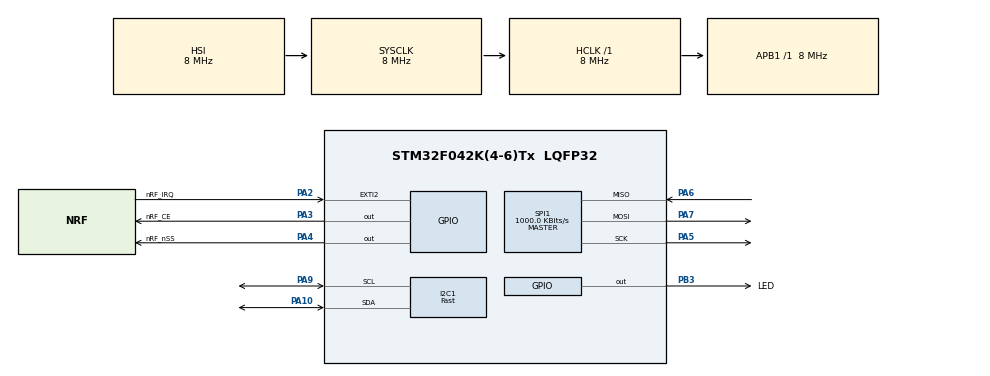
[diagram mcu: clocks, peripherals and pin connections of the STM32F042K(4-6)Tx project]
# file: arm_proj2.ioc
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I2C1.I2C_Speed_Mode=I2C_Fast
I2C1.Timing=0x0000020B
Mcu.Family=STM32F0
Mcu.Name=STM32F042K(4-6)Tx
Mcu.Package=LQFP32
NVIC.EXTI2_3_IRQn=true\:1\:0\:true\:false\:true\:true
PA10.Mode=I2C
PA10.Signal=I2C1_SDA
PA13.Mode=Serial_Wire
PA13.Signal=SYS_SWDIO
PA14.Mode=Serial_Wire
PA14.Signal=SYS_SWCLK
PA2.GPIO_Label=nRF_IRQ
PA2.GPIO_ModeDefaultEXTI=GPIO_MODE_IT_FALLING
PA2.Signal=GPXTI2
PA3.GPIO_Label=nRF_CE
PA3.GPIO_Speed=GPIO_SPEED_FREQ_HIGH
PA3.PinState=GPIO_PIN_SET
PA3.Signal=GPIO_Output
PA4.GPIO_Label=nRF_nSS
PA4.GPIO_Speed=GPIO_SPEED_FREQ_HIGH
PA4.PinState=GPIO_PIN_SET
PA4.Signal=GPIO_Output
PA5.Mode=Full_Duplex_Master
PA5.Signal=SPI1_SCK
PA6.Mode=Full_Duplex_Master
PA6.Signal=SPI1_MISO
PA7.Mode=Full_Duplex_Master
PA7.Signal=SPI1_MOSI
PA9.Mode=I2C
PA9.Signal=I2C1_SCL
PB3.GPIO_Label=LED
PB3.Signal=GPIO_Output
ProjectManager.HeapSize=0x200
ProjectManager.StackSize=0x400
ProjectManager.TargetToolchain=EWARM
RCC.AHBFreq_Value=8000000
RCC.APB1Freq_Value=8000000
RCC.APB1TimFreq_Value=8000000
RCC.HCLKFreq_Value=8000000
RCC.SYSCLKFreq_VALUE=8000000
SPI1.BaudRatePrescaler=SPI_BAUDRATEPRESCALER_8
SPI1.CalculateBaudRate=1000.0 KBits/s
SPI1.DataSize=SPI_DATASIZE_8BIT
SPI1.Direction=SPI_DIRECTION_2LINES
SPI1.Mode=SPI_MODE_MASTER
SPI1.VirtualType=VM_MASTER
board=NUCLEO-F042K6

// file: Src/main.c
/**
  ******************************************************************************
  * @file           : main.c
  * @brief          : Main program body
  ******************************************************************************
  ** This notice applies to any and all portions of this file
  * that are not between comment pairs USER CODE BEGIN and
  * USER CODE END. Other portions of this file, whether
  * inserted by the user or by software development tools
  * are owned by their respective copyright owners.
  *
  * COPYRIGHT(c) 2018 STMicroelectronics
  *
  * Redistribution and use in source and binary forms, with or without modification,
  * are permitted provided that the following conditions are met:
  *   1. Redistributions of source code must retain the above copyright notice,
  *      this list of conditions and the following disclaimer.
  *   2. Redistributions in binary form must reproduce the above copyright notice,
  *      this list of conditions and the following disclaimer in the documentation
  *      and/or other materials provided with the distribution.
  *   3. Neither the name of STMicroelectronics nor the names of its contributors
  *      may be used to endorse or promote products derived from this software
  *      without specific prior written permission.
  *
  * THIS SOFTWARE IS PROVIDED BY THE COPYRIGHT HOLDERS AND CONTRIBUTORS "AS IS"
  * AND ANY EXPRESS OR IMPLIED WARRANTIES, INCLUDING, BUT NOT LIMITED TO, THE
  * IMPLIED WARRANTIES OF MERCHANTABILITY AND FITNESS FOR A PARTICULAR PURPOSE ARE
  * DISCLAIMED. IN NO EVENT SHALL THE COPYRIGHT HOLDER OR CONTRIBUTORS BE LIABLE
  * FOR ANY DIRECT, INDIRECT, INCIDENTAL, SPECIAL, EXEMPLARY, OR CONSEQUENTIAL
  * DAMAGES (INCLUDING, BUT NOT LIMITED TO, PROCUREMENT OF SUBSTITUTE GOODS OR
  * SERVICES; LOSS OF USE, DATA, OR PROFITS; OR BUSINESS INTERRUPTION) HOWEVER
  * CAUSED AND ON ANY THEORY OF LIABILITY, WHETHER IN CONTRACT, STRICT LIABILITY,
  * OR TORT (INCLUDING NEGLIGENCE OR OTHERWISE) ARISING IN ANY WAY OUT OF THE USE
  * OF THIS SOFTWARE, EVEN IF ADVISED OF THE POSSIBILITY OF SUCH DAMAGE.
  *
  ******************************************************************************
  */
#include "main.h"
#include "stm32f0xx_hal.h"

/* USER CODE BEGIN Includes */
#include "mpu6050.h"
#include "nrf24l01P.h"
/* USER CODE END Includes */

I2C_HandleTypeDef hi2c1;

SPI_HandleTypeDef hspi1;

/* USER CODE BEGIN PV */
/* Private variables ---------------------------------------------------------*/
nRF24L01P myNRF;
const uint8_t RXAddr[5] = {0xE7, 0xE7, 0xE7, 0xE7, 0xE7};
const uint8_t TXAddr[5] = {0xE7, 0xE7, 0xE7, 0xE7, 0xE7};

uint8_t TXData[32] = "D=result_of_mpu6050";
uint8_t RXBuffer[32], TXBuffer[32];

int16_t Accel_X, Accel_Y, Accel_Z;
int16_t Gyro_X, Gyro_Y, Gyro_Z;
/* USER CODE END PV */

void SystemClock_Config(void);
static void MX_GPIO_Init(void);
static void MX_I2C1_Init(void);
static void MX_SPI1_Init(void);

/* USER CODE BEGIN PFP */
/* Private function prototypes -----------------------------------------------*/
#define accel_bound 8192
#define myMPU MPU6050_DEFAULT_ADDRESS

void MPU6050_Write(uint8_t Address, uint8_t data)
{
    HAL_I2C_Mem_Write(&hi2c1, myMPU, Address, 1, (uint8_t *)&data, 1, 10);
}

void MPU6050_Write_bits(uint8_t Address, uint8_t bitStart, uint8_t length, uint8_t data){
    uint8_t tmp = 0;
    HAL_I2C_Mem_Read(&hi2c1, myMPU, Address, 1, (uint8_t *)&tmp, 1, 10);
    uint8_t mask = 0;
    switch(length){
        case 1: mask = 0x01; break;
        case 2: mask = 0x03; break;
        case 3: mask = 0x07; break;
        case 4: mask = 0x0F; break;
        case 5: mask = 0x1F; break;
        case 6: mask = 0x3F; break;
        case 7: mask = 0x7F; break;
        case 8: mask = 0xFF; break;
    }
    tmp &= ~(mask << bitStart);
    tmp |= (data << bitStart);
    HAL_I2C_Mem_Write(&hi2c1, myMPU, Address, 1, (uint8_t *)&tmp, 1, 10);
}

uint8_t MPU6050_Read(uint8_t Address){
    uint8_t data = 0;
    HAL_I2C_Mem_Read(&hi2c1, myMPU, Address, 1, (uint8_t *)&data, 1, 10);
    return data;
}

void init_MPU6050(void){
    uint8_t temp = MPU6050_Read(MPU6050_RA_WHO_AM_I);
    /*
    printf("Who am I = 0x%02X\r\n", temp);
    printf("MPU6050 Initialize..... \r\n");
    printf("------------------------\r\n");
    */
    HAL_Delay(100);
    MPU6050_Write_bits(MPU6050_RA_PWR_MGMT_1, MPU6050_PWR1_SLEEP_BIT, 0x01, DISABLE); // SetSleepModeStatus
    HAL_Delay(10);
    MPU6050_Write_bits(MPU6050_RA_PWR_MGMT_1, MPU6050_PWR1_CLKSEL_BIT, MPU6050_PWR1_CLKSEL_LENGTH, MPU6050_CLOCK_PLL_XGYRO);      // SetClockSource
    MPU6050_Write_bits(MPU6050_RA_GYRO_CONFIG, MPU6050_GCONFIG_FS_SEL_BIT, MPU6050_GCONFIG_FS_SEL_LENGTH, MPU6050_GYRO_FS_250);   // SetFullScaleGyroRange
    MPU6050_Write_bits(MPU6050_RA_ACCEL_CONFIG, MPU6050_ACONFIG_AFS_SEL_BIT, MPU6050_ACONFIG_AFS_SEL_LENGTH, MPU6050_ACCEL_FS_2); // SetFullScaleAccelRange
}

void read_MPU6050_data(void){
    Accel_X = (MPU6050_Read(MPU6050_RA_ACCEL_XOUT_H)<<8) | MPU6050_Read(MPU6050_RA_ACCEL_XOUT_L);
    Accel_Y = (MPU6050_Read(MPU6050_RA_ACCEL_YOUT_H)<<8) | MPU6050_Read(MPU6050_RA_ACCEL_YOUT_L);
    Accel_Z = (MPU6050_Read(MPU6050_RA_ACCEL_ZOUT_H)<<8) | MPU6050_Read(MPU6050_RA_ACCEL_ZOUT_L);
    Gyro_X  = (MPU6050_Read(MPU6050_RA_GYRO_XOUT_H)<<8) | MPU6050_Read(MPU6050_RA_GYRO_XOUT_L);
    Gyro_Y  = (MPU6050_Read(MPU6050_RA_GYRO_YOUT_H)<<8) | MPU6050_Read(MPU6050_RA_GYRO_YOUT_L);
    Gyro_Z  = (MPU6050_Read(MPU6050_RA_GYRO_ZOUT_H)<<8) | MPU6050_Read(MPU6050_RA_GYRO_ZOUT_L);
}
/* USER CODE END PFP */

int main(void)
{

  /* MCU Configuration----------------------------------------------------------*/

  /* Reset of all peripherals, Initializes the Flash interface and the Systick. */
  HAL_Init();

  /* Configure the system clock */
  SystemClock_Config();

  /* Initialize all configured peripherals */
  MX_GPIO_Init();
  MX_I2C1_Init();
  MX_SPI1_Init();
  /* USER CODE BEGIN 2 */
  init_MPU6050();

  myNRF.hspi = &hspi1;
  myNRF.CRC_Width = nRF_CRC_WIDTH_BYTE;
  myNRF.ADDR_Width = nRF_ADDR_WIDTH_5;
  myNRF.Data_Rate = nRF_DATA_RATE_2MBPS;
  myNRF.TX_Power = nRF_TX_PWR_0dBm;
  myNRF.State = nRF_STATE_TX;

  myNRF.RF_Channel = 2;
  myNRF.PayloadWidth = nRF_RXPW_32BYTES;
  myNRF.RetransmitCount = nRF_RETX_COUNT_1;
  myNRF.RetransmitDelay = nRF_RETX_DELAY_1000uS;

  myNRF.RX_Address = (uint8_t *)RXAddr;
  myNRF.TX_Address = (uint8_t *)TXAddr;

  myNRF.RX_Buffer = RXBuffer;
  myNRF.TX_Buffer = TXBuffer;

  myNRF.nRF_nSS_GPIO_PORT = nRF_nSS_GPIO_Port;
  myNRF.nRF_nSS_GPIO_PIN = nRF_nSS_Pin;

  myNRF.nRF_CE_GPIO_PORT = nRF_CE_GPIO_Port;
  myNRF.nRF_CE_GPIO_PIN = nRF_CE_Pin;

  if(HAL_nRF24L01P_Init(&myNRF) != HAL_OK)
  {
    _Error_Handler(__FILE__, __LINE__);
  }
  /* USER CODE END 2 */

  /* Infinite loop */
  while (1)
  {

  /* USER CODE BEGIN 3 */
    read_MPU6050_data();

    if(Accel_X <= -accel_bound)
    {
      TXData[0] = 'F';
    }else if(Accel_X >= accel_bound)
    {
      TXData[0] = 'B';
    }else if(Accel_Y <= -accel_bound)
    {
      TXData[0] = 'R';
    }else if(Accel_Y >= accel_bound)
    {
      TXData[0] = 'L';
    }else
    {
      TXData[0] = 'D';
    }
    if(HAL_nRF24L01P_TransmitPacket(&myNRF, (uint8_t *)TXData) != HAL_OK)
    {
      _Error_Handler(__FILE__, __LINE__);
    }
    HAL_Delay(250);
  }
  /* USER CODE END 3 */

}

void SystemClock_Config(void)
{

  RCC_OscInitTypeDef RCC_OscInitStruct;
  RCC_ClkInitTypeDef RCC_ClkInitStruct;
  RCC_PeriphCLKInitTypeDef PeriphClkInit;

    /**Initializes the CPU, AHB and APB busses clocks
    */
  RCC_OscInitStruct.OscillatorType = RCC_OSCILLATORTYPE_HSI;
  RCC_OscInitStruct.HSIState = RCC_HSI_ON;
  RCC_OscInitStruct.HSICalibrationValue = 16;
  RCC_OscInitStruct.PLL.PLLState = RCC_PLL_NONE;
  if (HAL_RCC_OscConfig(&RCC_OscInitStruct) != HAL_OK)
  {
    _Error_Handler(__FILE__, __LINE__);
  }

    /**Initializes the CPU, AHB and APB busses clocks
    */
  RCC_ClkInitStruct.ClockType = RCC_CLOCKTYPE_HCLK|RCC_CLOCKTYPE_SYSCLK
                              |RCC_CLOCKTYPE_PCLK1;
  RCC_ClkInitStruct.SYSCLKSource = RCC_SYSCLKSOURCE_HSI;
  RCC_ClkInitStruct.AHBCLKDivider = RCC_SYSCLK_DIV1;
  RCC_ClkInitStruct.APB1CLKDivider = RCC_HCLK_DIV1;

  if (HAL_RCC_ClockConfig(&RCC_ClkInitStruct, FLASH_LATENCY_0) != HAL_OK)
  {
    _Error_Handler(__FILE__, __LINE__);
  }

  PeriphClkInit.PeriphClockSelection = RCC_PERIPHCLK_I2C1;
  PeriphClkInit.I2c1ClockSelection = RCC_I2C1CLKSOURCE_HSI;
  if (HAL_RCCEx_PeriphCLKConfig(&PeriphClkInit) != HAL_OK)
  {
    _Error_Handler(__FILE__, __LINE__);
  }

    /**Configure the Systick interrupt time
    */
  HAL_SYSTICK_Config(HAL_RCC_GetHCLKFreq()/1000);

    /**Configure the Systick
    */
  HAL_SYSTICK_CLKSourceConfig(SYSTICK_CLKSOURCE_HCLK);

  /* SysTick_IRQn interrupt configuration */
  HAL_NVIC_SetPriority(SysTick_IRQn, 0, 0);
}

/* I2C1 init function */
static void MX_I2C1_Init(void)
{

  hi2c1.Instance = I2C1;
  hi2c1.Init.Timing = 0x0000020B;
  hi2c1.Init.OwnAddress1 = 0;
  hi2c1.Init.AddressingMode = I2C_ADDRESSINGMODE_7BIT;
  hi2c1.Init.DualAddressMode = I2C_DUALADDRESS_DISABLE;
  hi2c1.Init.OwnAddress2 = 0;
  hi2c1.Init.OwnAddress2Masks = I2C_OA2_NOMASK;
  hi2c1.Init.GeneralCallMode = I2C_GENERALCALL_DISABLE;
  hi2c1.Init.NoStretchMode = I2C_NOSTRETCH_DISABLE;
  if (HAL_I2C_Init(&hi2c1) != HAL_OK)
  {
    _Error_Handler(__FILE__, __LINE__);
  }

    /**Configure Analogue filter
    */
  if (HAL_I2CEx_ConfigAnalogFilter(&hi2c1, I2C_ANALOGFILTER_ENABLE) != HAL_OK)
  {
    _Error_Handler(__FILE__, __LINE__);
  }

    /**Configure Digital filter
    */
  if (HAL_I2CEx_ConfigDigitalFilter(&hi2c1, 0) != HAL_OK)
  {
    _Error_Handler(__FILE__, __LINE__);
  }

}

/* SPI1 init function */
static void MX_SPI1_Init(void)
{

  /* SPI1 parameter configuration*/
  hspi1.Instance = SPI1;
  hspi1.Init.Mode = SPI_MODE_MASTER;
  hspi1.Init.Direction = SPI_DIRECTION_2LINES;
  hspi1.Init.DataSize = SPI_DATASIZE_8BIT;
  hspi1.Init.CLKPolarity = SPI_POLARITY_LOW;
  hspi1.Init.CLKPhase = SPI_PHASE_1EDGE;
  hspi1.Init.NSS = SPI_NSS_SOFT;
  hspi1.Init.BaudRatePrescaler = SPI_BAUDRATEPRESCALER_8;
  hspi1.Init.FirstBit = SPI_FIRSTBIT_MSB;
  hspi1.Init.TIMode = SPI_TIMODE_DISABLE;
  hspi1.Init.CRCCalculation = SPI_CRCCALCULATION_DISABLE;
  hspi1.Init.CRCPolynomial = 7;
  hspi1.Init.CRCLength = SPI_CRC_LENGTH_DATASIZE;
  hspi1.Init.NSSPMode = SPI_NSS_PULSE_ENABLE;
  if (HAL_SPI_Init(&hspi1) != HAL_OK)
  {
    _Error_Handler(__FILE__, __LINE__);
  }

}

/** Configure pins as
        * Analog
        * Input
        * Output
        * EVENT_OUT
        * EXTI
*/
static void MX_GPIO_Init(void)
{

  GPIO_InitTypeDef GPIO_InitStruct;

  /* GPIO Ports Clock Enable */
  __HAL_RCC_GPIOA_CLK_ENABLE();
  __HAL_RCC_GPIOB_CLK_ENABLE();

  /*Configure GPIO pin Output Level */
  HAL_GPIO_WritePin(GPIOA, nRF_CE_Pin|nRF_nSS_Pin, GPIO_PIN_SET);

  /*Configure GPIO pin Output Level */
  HAL_GPIO_WritePin(LED_GPIO_Port, LED_Pin, GPIO_PIN_RESET);

  /*Configure GPIO pin : nRF_IRQ_Pin */
  GPIO_InitStruct.Pin = nRF_IRQ_Pin;
  GPIO_InitStruct.Mode = GPIO_MODE_IT_FALLING;
  GPIO_InitStruct.Pull = GPIO_NOPULL;
  HAL_GPIO_Init(nRF_IRQ_GPIO_Port, &GPIO_InitStruct);

  /*Configure GPIO pins : nRF_CE_Pin nRF_nSS_Pin */
  GPIO_InitStruct.Pin = nRF_CE_Pin|nRF_nSS_Pin;
  GPIO_InitStruct.Mode = GPIO_MODE_OUTPUT_PP;
  GPIO_InitStruct.Pull = GPIO_NOPULL;
  GPIO_InitStruct.Speed = GPIO_SPEED_FREQ_HIGH;
  HAL_GPIO_Init(GPIOA, &GPIO_InitStruct);

  /*Configure GPIO pin : LED_Pin */
  GPIO_InitStruct.Pin = LED_Pin;
  GPIO_InitStruct.Mode = GPIO_MODE_OUTPUT_PP;
  GPIO_InitStruct.Pull = GPIO_NOPULL;
  GPIO_InitStruct.Speed = GPIO_SPEED_FREQ_LOW;
  HAL_GPIO_Init(LED_GPIO_Port, &GPIO_InitStruct);

  /* EXTI interrupt init*/
  HAL_NVIC_SetPriority(EXTI2_3_IRQn, 1, 0);
  HAL_NVIC_EnableIRQ(EXTI2_3_IRQn);

}

/* USER CODE BEGIN 4 */
void HAL_GPIO_EXTI_Callback(uint16_t GPIO_Pin)
{
  if(GPIO_Pin == GPIO_PIN_2)
  {
    if(HAL_nRF24L01P_IRQ_Handler(&myNRF) != HAL_OK)
    {
      puts("ERROR : HAL_GPIO_EXTI_Callback");
      while(1){}
    }
    HAL_GPIO_TogglePin(LED_GPIO_Port, LED_Pin);
  }
}
/* USER CODE END 4 */

void _Error_Handler(char *file, int line)
{
  while(1)
  {
  }
}

/************************ (C) COPYRIGHT STMicroelectronics *****END OF FILE****/
